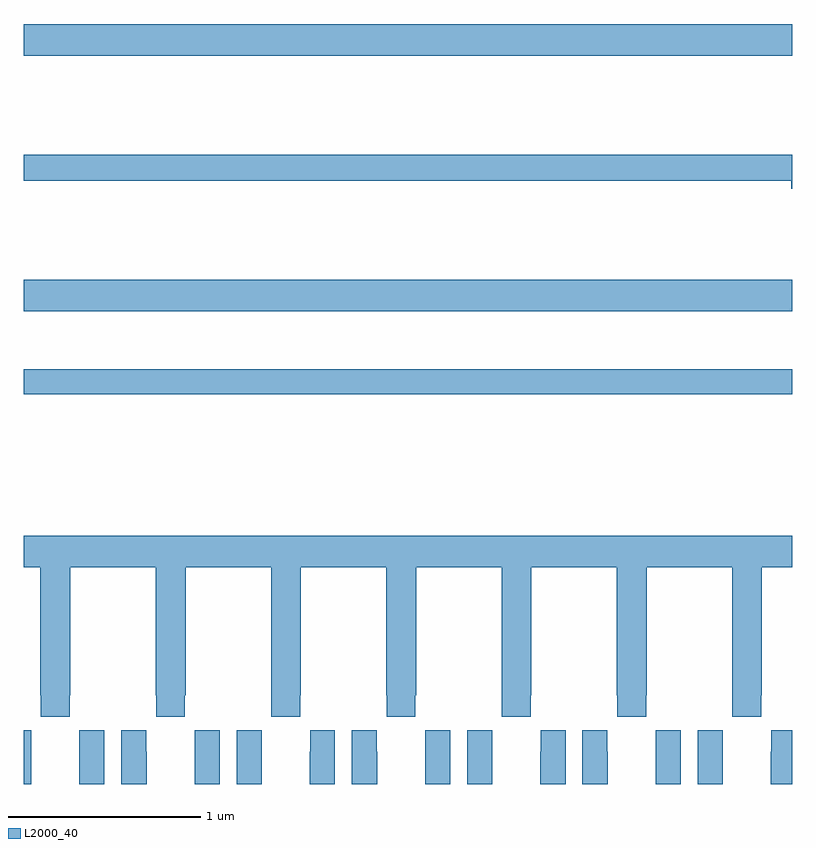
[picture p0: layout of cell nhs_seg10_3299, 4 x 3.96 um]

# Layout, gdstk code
import gdstk
lib = gdstk.Library(unit=1e-6, precision=1e-09)
def R(c, l, rs):  # rectangles x0, y0, x1, y1
    for r in rs: c.add(gdstk.rectangle(r[:2], r[2:], *l))
def P(c, l, *ps):  # polygons
    for p in ps: c.add(gdstk.Polygon(p, *l))
L2000_40 = (2000, 40)

nhs_seg10_3299 = lib.new_cell('nhs_seg10_3299')
R(nhs_seg10_3299, L2000_40, [(289,1322.53,293,1322.659), (289,1322.96,293,1323.124), (289,1324.292,293,1324.456)])
P(nhs_seg10_3299, L2000_40, [(293,1323.776),(289,1323.776),(289,1323.64),(292.994,1323.64),(292.994,1323.598),(293,1323.598)],
  [(289,1321.628),(289.087,1321.628),(289.087,1320.961),(289.089,1320.961),(289.089,1320.849),(289.239,1320.849),(289.239,1320.961),(289.242,1320.961),(289.242,1321.628),(289.687,1321.628),(289.687,1320.961),(289.689,1320.961),(289.689,1320.849),(289.839,1320.849),(289.839,1320.961),(289.842,1320.961),(289.842,1321.628),(290.287,1321.628),(290.287,1320.961),(290.289,1320.961),(290.289,1320.849),(290.439,1320.849),(290.439,1320.961),(290.442,1320.961),(290.442,1321.628),(290.887,1321.628),(290.887,1320.961),(290.889,1320.961),(290.889,1320.849),(291.039,1320.849),(291.039,1320.961),(291.042,1320.961),(291.042,1321.628),(291.487,1321.628),(291.487,1320.961),(291.489,1320.961),(291.489,1320.849),(291.639,1320.849),(291.639,1320.961),(291.642,1320.961),(291.642,1321.628),(292.087,1321.628),(292.087,1320.961),(292.089,1320.961),(292.089,1320.849),(292.239,1320.849),(292.239,1320.961),(292.242,1320.961),(292.242,1321.628),(292.687,1321.628),(292.687,1320.961),(292.689,1320.961),(292.689,1320.849),(292.839,1320.849),(292.839,1320.961),(292.842,1320.961),(292.842,1321.628),(293,1321.628),(293,1321.792),(289,1321.792)],
  [(292.039,1320.668),(292.038,1320.668),(292.038,1320.781),(291.908,1320.781),(291.908,1320.5),(292.039,1320.5)],
  [(291.439,1320.668),(291.438,1320.668),(291.438,1320.781),(291.308,1320.781),(291.308,1320.5),(291.439,1320.5)],
  [(291.82,1320.781),(291.69,1320.781),(291.69,1320.668),(291.689,1320.668),(291.689,1320.5),(291.82,1320.5)],
  [(292.42,1320.781),(292.29,1320.781),(292.29,1320.668),(292.289,1320.668),(292.289,1320.5),(292.42,1320.5)],
  [(292.639,1320.668),(292.638,1320.668),(292.638,1320.781),(292.508,1320.781),(292.508,1320.5),(292.639,1320.5)],
  [(293,1320.781),(292.89,1320.781),(292.89,1320.668),(292.889,1320.668),(292.889,1320.5),(293,1320.5)],
  [(289.039,1320.668),(289.038,1320.668),(289.038,1320.781),(289,1320.781),(289,1320.5),(289.039,1320.5)],
  [(291.22,1320.781),(291.09,1320.781),(291.09,1320.668),(291.089,1320.668),(291.089,1320.5),(291.22,1320.5)],
  [(290.839,1320.668),(290.838,1320.668),(290.838,1320.781),(290.708,1320.781),(290.708,1320.5),(290.839,1320.5)],
  [(290.62,1320.781),(290.49,1320.781),(290.49,1320.668),(290.489,1320.668),(290.489,1320.5),(290.62,1320.5)],
  [(290.239,1320.668),(290.238,1320.668),(290.238,1320.781),(290.108,1320.781),(290.108,1320.5),(290.239,1320.5)],
  [(290.02,1320.781),(289.89,1320.781),(289.89,1320.668),(289.889,1320.668),(289.889,1320.5),(290.02,1320.5)],
  [(289.42,1320.781),(289.29,1320.781),(289.29,1320.668),(289.289,1320.668),(289.289,1320.5),(289.42,1320.5)],
  [(289.639,1320.668),(289.638,1320.668),(289.638,1320.781),(289.508,1320.781),(289.508,1320.5),(289.639,1320.5)])

lib.write_gds('nhs_seg10_3299.gds')
